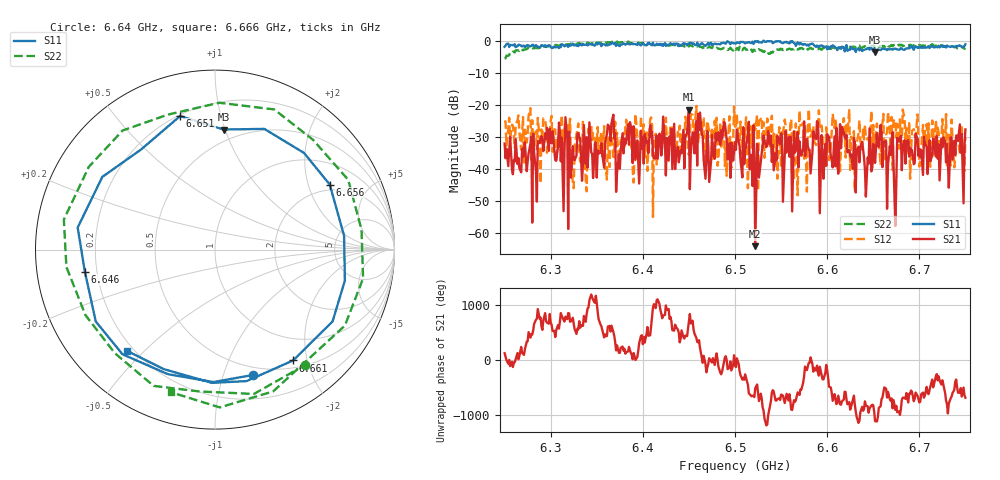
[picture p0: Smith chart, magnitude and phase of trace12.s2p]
# Hz S RI R 50
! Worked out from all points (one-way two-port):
!   401 points, 6.25 GHz to 6.75 GHz, reference 50 ohm
!   highest |S21| = -21.48 dB at 6.45 GHz (marker M1); lowest = -64.3 dB at 6.522 GHz (marker M2)
!   lowest |S11| = -3.5 dB at 6.652 GHz (marker M3), VSWR 5.07, Z = 20.3 + j49.4 ohm
!   |S11| at or under -10 dB: nowhere
!   |S22| runs from -5.4 to -0.1 dB; largest |S21 - S12| = 0.13
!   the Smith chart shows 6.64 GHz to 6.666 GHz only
!   S11 on the Smith chart (normalised r, x): 6.64 GHz: 0.42, -1.26; 6.646 GHz: 0.15, -0.08; 6.651 GHz: 0.21, +0.75; 6.656 GHz: 1.76, +2.77; 6.661 GHz: 0.61, -1.76; 6.666 GHz: 0.17, -0.44
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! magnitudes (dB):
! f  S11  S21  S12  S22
! 6.25 GHz  -1.8  -32.1  -25.3  -5.4
! 6.282 GHz  -1.7  -34.9  -29.4  -2.2
! 6.296 GHz  -1.6  -27.2  -35.0  -1.7
! 6.321 GHz  -1.2  -41.3  -24.3  -1.4
! 6.334 GHz  -1.3  -43.8  -37.2  -0.8
! 6.418 GHz  -1.0  -29.0  -29.1  -0.9
! 6.45 GHz  -0.8  -21.5  -35.7  -1.7
! 6.494 GHz  -0.6  -32.0  -23.6  -2.5
! 6.5 GHz  -0.7  -31.7  -26.8  -2.3
! 6.522 GHz  0.0  -64.3  -27.8  -3.0
! 6.565 GHz  -0.7  -34.9  -35.2  -2.2
! 6.571 GHz  -0.6  -34.9  -26.4  -2.3
! 6.584 GHz  -0.8  -34.8  -28.4  -2.5
! 6.64 GHz  -2.7  -36.4  -30.8  -1.8
! 6.646 GHz  -2.7  -27.4  -33.0  -1.8
! 6.651 GHz  -2.3  -34.5  -34.1  -1.5
! 6.652 GHz  -3.5  -38.2  -30.8  -2.0
! 6.656 GHz  -2.7  -33.1  -31.6  -1.7
! 6.661 GHz  -2.4  -32.4  -22.8  -1.5
! 6.666 GHz  -2.5  -38.8  -22.2  -1.6
! 6.668 GHz  -2.6  -32.9  -28.3  -1.7
! 6.75 GHz  -1.0  -27.7  -30.3  -2.2
